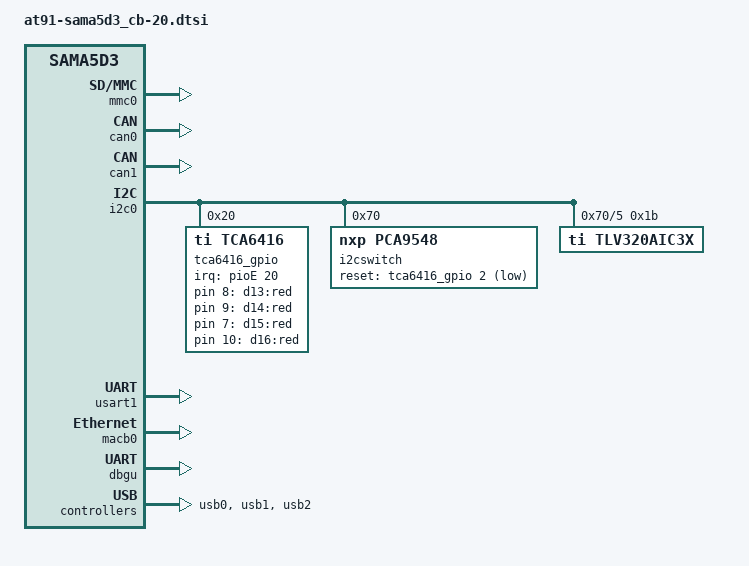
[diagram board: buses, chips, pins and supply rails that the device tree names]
/*
 * at91-sama5d3_cb-20.dtsi - Device Tree file for ShiraTech CB-20
 *			     carrier board with AT-501 CPU module.
 *
 *  Copyright (C) 2016 Joachim Eastwood <manabian@gmail.com>
 *
 * This file is dual-licensed: you can use it either under the terms
 * of the GPL or the X11 license, at your option. Note that this dual
 * licensing only applies to this file, and not this project as a
 * whole.
 *
 *  a) This file is free software; you can redistribute it and/or
 *     modify it under the terms of the GNU General Public License as
 *     published by the Free Software Foundation; either version 2 of the
 *     License, or (at your option) any later version.
 *
 *     This file is distributed in the hope that it will be useful,
 *     but WITHOUT ANY WARRANTY; without even the implied warranty of
 *     MERCHANTABILITY or FITNESS FOR A PARTICULAR PURPOSE.  See the
 *     GNU General Public License for more details.
 *
 * Or, alternatively,
 *
 *  b) Permission is hereby granted, free of charge, to any person
 *     obtaining a copy of this software and associated documentation
 *     files (the "Software"), to deal in the Software without
 *     restriction, including without limitation the rights to use,
 *     copy, modify, merge, publish, distribute, sublicense, and/or
 *     sell copies of the Software, and to permit persons to whom the
 *     Software is furnished to do so, subject to the following
 *     conditions:
 *
 *     The above copyright notice and this permission notice shall be
 *     included in all copies or substantial portions of the Software.
 *
 *     THE SOFTWARE IS PROVIDED "AS IS", WITHOUT WARRANTY OF ANY KIND,
 *     EXPRESS OR IMPLIED, INCLUDING BUT NOT LIMITED TO THE WARRANTIES
 *     OF MERCHANTABILITY, FITNESS FOR A PARTICULAR PURPOSE AND
 *     NONINFRINGEMENT. IN NO EVENT SHALL THE AUTHORS OR COPYRIGHT
 *     HOLDERS BE LIABLE FOR ANY CLAIM, DAMAGES OR OTHER LIABILITY,
 *     WHETHER IN AN ACTION OF CONTRACT, TORT OR OTHERWISE, ARISING
 *     FROM, OUT OF OR IN CONNECTION WITH THE SOFTWARE OR THE USE OR
 *     OTHER DEALINGS IN THE SOFTWARE.
 */
/ {
	compatible = "shiratech,cb-20", "atmel,sama5d3", "atmel,sama5";

	chosen {
		stdout-path = "serial0:115200n8";
	};

	ahb {
		apb {
			mmc0: mmc@f0000000 {
				pinctrl-names = "default";
				pinctrl-0 = <&pinctrl_mmc0_clk_cmd_dat0 &pinctrl_mmc0_dat1_3 &pinctrl_mmc0_cd>;
				status = "okay";

				slot@0 {
					reg = <0>;
					bus-width = <4>;
					cd-gpios = <&pioD 17 GPIO_ACTIVE_HIGH>;
				};
			};

			can0: can@f000c000 {
				status = "okay";
			};

			can1: can@f8010000 {
				status = "okay";
			};

			i2c0: i2c@f0014000 {
				status = "okay";

				tca6416_gpio: gpio@20 {
					compatible = "ti,tca6416";
					reg = <0x20>;
					gpio-controller;
					#gpio-cells = <2>;
					interrupt-parent = <&pioE>;
					interrupts = <20 GPIO_ACTIVE_LOW>;
					pinctrl-names = "default";
					pinctrl-0 = <&pinctrl_tca6416_int>;

				};

				i2cswitch@70 {
					compatible = "nxp,pca9548";
					reset-gpios = <&tca6416_gpio 2 GPIO_ACTIVE_LOW>;
					reg = <0x70>;
					#address-cells = <1>;
					#size-cells = <0>;

					i2c@5 {
						reg = <0x5>;
						#address-cells = <1>;
						#size-cells = <0>;

						tlv320aic3x: tlv320aic3x@1b {
							compatible = "ti,tlv320aic3x";
							reg = <0x1b>;
						};
					};
				};
			};

			usart1: serial@f0020000 {
				dmas = <0>, <0>;	/*  Do not use DMA for usart1 */
				pinctrl-names = "default";
				pinctrl-0 = <&pinctrl_usart1 &pinctrl_usart1_rts_cts>;
				status = "okay";
			};

			ssc0: ssc@f0008000 {
				status = "okay";
			};

			macb0: ethernet@f0028000 {
				status = "okay";
			};

			pinctrl@fffff200 {
				board {
					pinctrl_mmc0_cd: mmc0_cd {
						atmel,pins =
							<AT91_PIOD 17 AT91_PERIPH_GPIO AT91_PINCTRL_PULL_UP_DEGLITCH>;
					};

					pinctrl_pck0_as_audio_mck: pck0_as_audio_mck {
						atmel,pins =
							<AT91_PIOD 30 AT91_PERIPH_B AT91_PINCTRL_NONE>;
					};

					pinctrl_usb_a_vbus: usb_a_vbus {
						atmel,pins =
							<AT91_PIOD 29 AT91_PERIPH_GPIO AT91_PINCTRL_DEGLITCH>;
					};

					pinctrl_usb_ab_vbus_en: usb_ab_vbus_en {
						atmel,pins =
							<AT91_PIOD 25 AT91_PERIPH_GPIO AT91_PINCTRL_NONE
							 AT91_PIOD 26 AT91_PERIPH_GPIO AT91_PINCTRL_NONE>;
					};

					pinctrl_tca6416_int: tca6416_int {
						atmel,pins =
							<AT91_PIOE 20 AT91_PERIPH_GPIO AT91_PINCTRL_PULL_UP_DEGLITCH>;
					};
				};
			};

			dbgu: serial@ffffee00 {
				dmas = <0>, <0>;	/*  Do not use DMA for dbgu */
				status = "okay";
			};

			watchdog@fffffe40 {
				status = "okay";
			};
		};

		usb0: gadget@00500000 {
			atmel,vbus-gpio = <&pioD 29 GPIO_ACTIVE_HIGH>;
			pinctrl-names = "default";
			pinctrl-0 = <&pinctrl_usb_a_vbus>;
			status = "okay";
		};

		usb1: ohci@00600000 {
			num-ports = <3>;
			atmel,vbus-gpio = <&pioD 25 GPIO_ACTIVE_LOW
					   &pioD 26 GPIO_ACTIVE_LOW
					   0>;
			pinctrl-names = "default";
			pinctrl-0 = <&pinctrl_usb_ab_vbus_en>;
			status = "okay";
		};

		usb2: ehci@00700000 {
			status = "okay";
		};
	};

	leds {
		compatible = "gpio-leds";

		d13 {
			label = "d13:red";
			gpios = <&tca6416_gpio 8 GPIO_ACTIVE_HIGH>;
		};

		d14 {
			label = "d14:red";
			gpios = <&tca6416_gpio 9 GPIO_ACTIVE_HIGH>;
		};

		d15 {
			label = "d15:red";
			gpios = <&tca6416_gpio 7 GPIO_ACTIVE_HIGH>;
		};

		d16 {
			label = "d16:red";
			gpios = <&tca6416_gpio 10 GPIO_ACTIVE_HIGH>;
			linux,default-trigger = "heartbeat";
		};
	};
};
